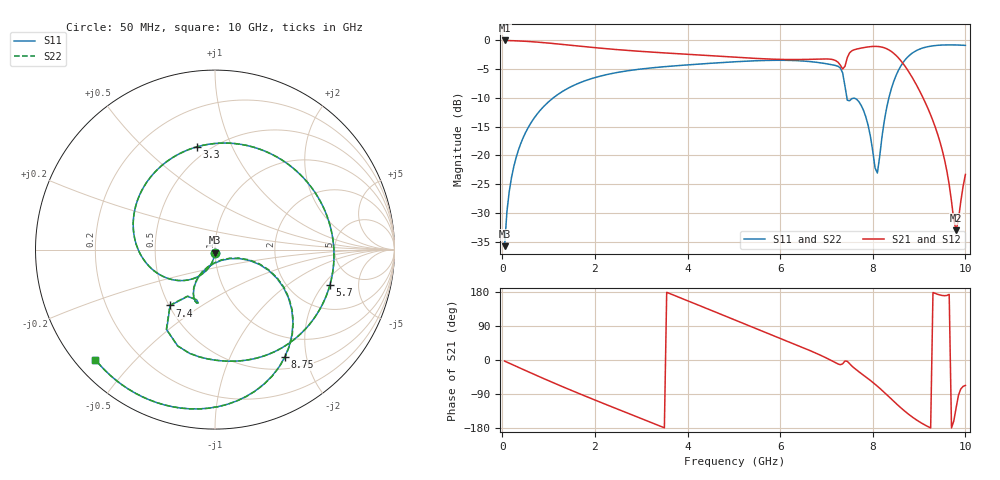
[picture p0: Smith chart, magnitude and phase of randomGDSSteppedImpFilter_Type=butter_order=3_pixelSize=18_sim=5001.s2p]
! freq	dB(S11)	phase(S11)	dB(S12)	phase(S12)
!  dB(S21)	phase(S21)	dB(S22)	phase(S22)
!S-par simulation data
#  GHz  S  DB  R 50
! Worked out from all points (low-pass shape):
!   200 points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, 50 MHz to 10 GHz, reference 50 ohm
!   highest |S21| = 0.00 dB at 50 MHz (marker M1); lowest = -33.1 dB at 9.8 GHz (marker M2)
!   |S21| within 3 dB of the highest: start of sweep to 5.199 GHz; 7.449 GHz to 8.55 GHz (1.101 GHz wide, 13.8 % of centre)
!   lowest |S11| = -35.8 dB at 50 MHz (marker M3), VSWR 1.03, Z = 49.9 - j1.62 ohm
!   |S11| at or under -10 dB: start of sweep to 1.1 GHz; 7.442 GHz to 8.348 GHz (906.1 MHz wide, 11.5 % of centre)
!   |S22| runs from -35.8 to -0.8 dB; largest |S21 - S12| = 0
!   S11 on the Smith chart (normalised r, x): 50 MHz: 1.00, -0.03; 3.3 GHz: 0.43, +0.74; 5.7 GHz: 3.28, -2.34; 7.4 GHz: 0.51, -0.38; 8.75 GHz: 0.67, -1.63; 10 GHz: 0.06, -0.39
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0.05  -35.80 -92.7  -0.00 -2.8  -0.00 -2.8  -35.80 -92.7
0.2  -23.81 -101.4  -0.04 -11.2  -0.04 -11.2  -23.81 -101.4
0.5  -16.07 -118.3  -0.15 -27.7  -0.15 -27.7  -16.07 -118.3
1.1  -10.00 -150.5  -0.54 -60.0  -0.54 -60.0  -10.00 -150.5
1.75  -7.13 176.1  -1.06 -93.2  -1.06 -93.2  -7.13 176.1
2.55  -5.48 136.7  -1.64 -132.6  -1.64 -132.6  -5.48 136.8
3.3  -4.72 100.2  -2.07 -169.1  -2.07 -169.1  -4.72 100.3
3.4  -4.64 95.3  -2.12 -174.0  -2.12 -174.0  -4.64 95.4
4.15  -4.17 58.6  -2.48 149.0  -2.48 149.0  -4.17 58.6
5.05  -3.70 14.4  -2.93 104.3  -2.93 104.3  -3.70 14.5
5.7  -3.48 -17.1  -3.21 72.2  -3.21 72.2  -3.48 -17.1
6.7  -3.73 -66.2  -3.27 21.9  -3.27 21.9  -3.73 -66.3
7.25  -4.50 -103.7  -3.79 -10.5  -3.79 -10.5  -4.51 -103.8
7.4  -7.97 -128.7  -4.50 -2.6  -4.50 -2.6  -8.00 -129.0
7.65  -10.23 -111.0  -1.50 -26.3  -1.50 -26.3  -10.24 -111.2
7.85  -13.31 -120.3  -1.19 -44.6  -1.19 -44.6  -13.34 -120.7
8.1  -23.07 -58.7  -1.05 -69.2  -1.05 -69.2  -23.37 -58.2
8.35  -9.92 -21.1  -1.66 -97.1  -1.66 -97.1  -9.94 -20.6
8.75  -2.92 -57.1  -5.12 -140.9  -5.12 -140.9  -2.92 -56.9
9.45  -0.82 -107.9  -17.62 171.6  -17.62 171.6  -0.82 -107.8
9.8  -0.79 -127.1  -33.06 -126.0  -33.06 -126.0  -0.79 -127.1
10  -0.86 -137.5  -23.33 -67.1  -23.33 -67.1  -0.86 -137.4
